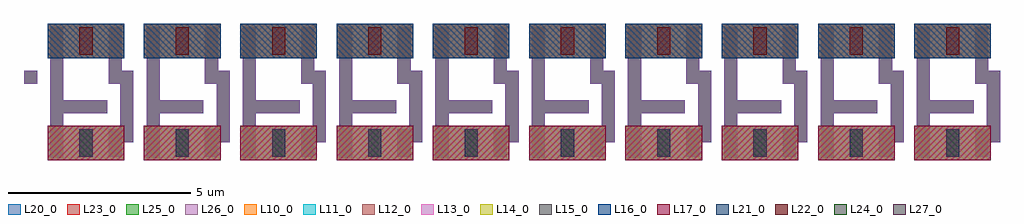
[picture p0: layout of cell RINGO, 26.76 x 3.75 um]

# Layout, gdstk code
import gdstk
lib = gdstk.Library(unit=1e-6, precision=1e-09)
def R(c, l, rs):  # rectangles x0, y0, x1, y1
    for r in rs: c.add(gdstk.rectangle(r[:2], r[2:], *l))
def P(c, l, *ps):  # polygons
    for p in ps: c.add(gdstk.Polygon(p, *l))
L10_0 = (10, 0)
L11_0 = (11, 0)
L12_0 = (12, 0)
L13_0 = (13, 0)
L14_0 = (14, 0)
L15_0 = (15, 0)
L16_0 = (16, 0)
L17_0 = (17, 0)
L20_0 = (20, 0)
L21_0 = (21, 0)
L22_0 = (22, 0)
L23_0 = (23, 0)
L24_0 = (24, 0)
L25_0 = (25, 0)
L26_0 = (26, 0)
L27_0 = (27, 0)

trans = lib.new_cell('TRANS')

inv2 = lib.new_cell('INV2')
R(inv2, L10_0, [(-1.05,2.325,1.05,3.275)])
R(inv2, L11_0, [(-1.05,-0.475,1.05,0.475)])
R(inv2, L12_0, [(-1.05,2.325,1.05,3.275)])
R(inv2, L13_0, [(-1.05,-0.475,1.05,0.475)])
R(inv2, L14_0, [(-1.05,-0.475,1.05,0.475)])
R(inv2, L15_0, [(-1.05,2.325,1.05,3.275)])
R(inv2, L16_0, [(-1.05,2.325,1.05,3.275)])
R(inv2, L17_0, [(-1.05,-0.475,1.05,0.475)])
R(inv2, L20_0, [(-0.18,2.42,0.18,3.18)])
P(inv2, L20_0, [(-0.98,-0.42),(-0.98,3.18),(-0.62,3.18),(-0.62,1.18),(0.58,1.18),(0.58,0.82),(-0.62,0.82),(-0.62,-0.42)],
  [(0.62,-0.38),(0.62,0.38),(0.94,0.38),(0.94,1.62),(0.62,1.62),(0.62,3.18),(0.98,3.18),(0.98,1.98),(1.3,1.98),(1.3,0.02),(0.98,0.02),(0.98,-0.38)])
R(inv2, L21_0, [(-0.18,-0.38,0.18,0.38)])
R(inv2, L22_0, [(-0.18,2.42,0.18,3.18)])
R(inv2, L23_0, [(-0.18,-0.38,0.18,0.38)])
P(inv2, L23_0, [(-0.98,-0.42),(-0.98,3.18),(-0.62,3.18),(-0.62,1.18),(0.58,1.18),(0.58,0.82),(-0.62,0.82),(-0.62,-0.42)],
  [(0.62,-0.38),(0.62,0.38),(0.94,0.38),(0.94,1.62),(0.62,1.62),(0.62,3.18),(0.98,3.18),(0.98,1.98),(1.3,1.98),(1.3,0.02),(0.98,0.02),(0.98,-0.38)])
R(inv2, L24_0, [(-0.18,-0.38,0.18,0.38)])
R(inv2, L25_0, [(-0.18,2.42,0.18,3.18)])
P(inv2, L25_0, [(-0.98,-0.42),(-0.98,3.18),(-0.62,3.18),(-0.62,1.18),(0.58,1.18),(0.58,0.82),(-0.62,0.82),(-0.62,-0.42)],
  [(0.62,-0.38),(0.62,0.38),(0.94,0.38),(0.94,1.62),(0.62,1.62),(0.62,3.18),(0.98,3.18),(0.98,1.98),(1.3,1.98),(1.3,0.02),(0.98,0.02),(0.98,-0.38)])
R(inv2, L26_0, [(-0.18,2.42,0.18,3.18)])
P(inv2, L26_0, [(-0.98,-0.42),(-0.98,3.18),(-0.62,3.18),(-0.62,1.18),(0.58,1.18),(0.58,0.82),(-0.62,0.82),(-0.62,-0.42)],
  [(0.62,-0.38),(0.62,0.38),(0.94,0.38),(0.94,1.62),(0.62,1.62),(0.62,3.18),(0.98,3.18),(0.98,1.98),(1.3,1.98),(1.3,0.02),(0.98,0.02),(0.98,-0.38)])
R(inv2, L27_0, [(-0.18,-0.38,0.18,0.38)])
inv2.add(gdstk.Reference(trans, (-0.4,0)))
inv2.add(gdstk.Reference(trans, (-0.4,2.8)))
inv2.add(gdstk.Reference(trans, (0.4,0), x_reflection=True))
inv2.add(gdstk.Reference(trans, (0.4,2.8), x_reflection=True))

ringo = lib.new_cell('RINGO')
R(ringo, L20_0, [(-1.7,1.62,-1.34,1.98)])
R(ringo, L23_0, [(-1.7,1.62,-1.34,1.98)])
R(ringo, L25_0, [(-1.7,1.62,-1.34,1.98)])
R(ringo, L26_0, [(-1.7,1.62,-1.34,1.98)])
ringo.add(gdstk.Reference(inv2, (0,0)))
ringo.add(gdstk.Reference(inv2, (2.64,0)))
ringo.add(gdstk.Reference(inv2, (5.28,0)))
ringo.add(gdstk.Reference(inv2, (7.92,0)))
ringo.add(gdstk.Reference(inv2, (10.56,0)))
ringo.add(gdstk.Reference(inv2, (13.2,0)))
ringo.add(gdstk.Reference(inv2, (15.84,0)))
ringo.add(gdstk.Reference(inv2, (18.48,0)))
ringo.add(gdstk.Reference(inv2, (21.12,0)))
ringo.add(gdstk.Reference(inv2, (23.76,0)))

lib.write_gds('RINGO.gds')
